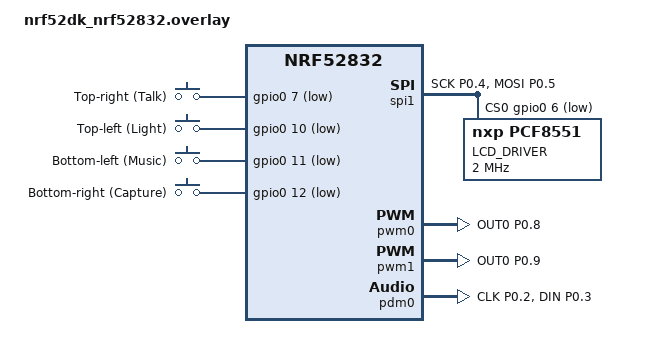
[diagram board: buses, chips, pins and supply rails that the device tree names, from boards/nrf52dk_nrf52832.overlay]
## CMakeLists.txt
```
cmake_minimum_required(VERSION 3.20.0)

find_package(Zephyr REQUIRED HINTS $ENV{ZEPHYR_BASE})
project(casioai_watch)

target_sources(app PRIVATE
    src/main.c
    src/ble_service.c
    src/buttons.c
    src/audio_capture.c
    src/lcd_driver.c
    src/haptics.c
    src/power.c
)

target_include_directories(app PRIVATE src)
```

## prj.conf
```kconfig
# CasioAI watch firmware — nRF Connect SDK / Zephyr project configuration.
# Built and reasoned about without access to the actual SDK/toolchain in
# this environment — see ../README.md "known risk areas" before trusting
# any of these Kconfig symbol names against your installed NCS version.

# --- Bluetooth: peripheral role only, one central (the phone) at a time ---
CONFIG_BT=y
CONFIG_BT_PERIPHERAL=y
CONFIG_BT_DEVICE_NAME="CasioAI Watch"
CONFIG_BT_MAX_CONN=1
CONFIG_BT_MAX_PAIRED=1
CONFIG_BT_GATT_DYNAMIC_DB=n

# Just-Works pairing: keeps casual BLE clients from issuing call/music
# commands without requiring the user to enter a passkey on a device with
# no full keyboard.
CONFIG_BT_SMP=y
CONFIG_BT_BONDABLE=y

# --- Peripherals ---
CONFIG_GPIO=y
CONFIG_SPI=y
CONFIG_PWM=y
CONFIG_NRFX_PDM=y
CONFIG_NRFX_PDM0=y

# --- Power management: idle aggressively between BLE/GPIO events ---
CONFIG_PM=y
CONFIG_PM_DEVICE=y

# --- Misc ---
# power.c uses <time.h> gmtime_r() for the Unix-seconds -> H:M breakdown;
# needs a C library that provides it. Newlib is the safe, widely-supported
# choice — picolibc (Zephyr's newer default) also supports it if your NCS
# version prefers that instead.
CONFIG_NEWLIB_LIBC=y
CONFIG_LOG=y
CONFIG_MAIN_STACK_SIZE=4096
CONFIG_SYSTEM_WORKQUEUE_STACK_SIZE=2048
CONFIG_HEAP_MEM_POOL_SIZE=4096
```

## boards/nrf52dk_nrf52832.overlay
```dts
/*
 * Bring-up overlay for the nRF52-DK, standing in for the custom rev1 PCB
 * (which doesn't exist yet — this is Phase 3). Pin assignments here are
 * provisional and picked for DK convenience, not from any real board; once
 * the PCB exists, replace this whole file with a proper custom board
 * definition (a real `boards/<vendor>/casioai_watch/` directory) that
 * matches actual routing, and update PINMAP.md alongside it.
 *
 * Devicetree/pinctrl syntax is the least-verified part of this firmware —
 * no compiler was available to check it. Cross-check the `NRF_PSEL(...)`
 * macros and node names against an actual NCS checkout's samples
 * (`samples/bluetooth/peripheral_hids` and `samples/drivers/spi_flash` are
 * both good pinctrl references) before trusting this file as-is.
 *
 * Pin map (see ../PINMAP.md for the authoritative, human-readable table):
 *   P0.02  PDM CLK    -> MEMS mic
 *   P0.03  PDM DIN    -> MEMS mic
 *   P0.04  SPI SCK    -> LCD driver IC (PCF8551)
 *   P0.05  SPI MOSI   -> LCD driver IC
 *   P0.06  SPI CS     -> LCD driver IC
 *   P0.07  Button in  -> top-right button (Talk), active low, pull-up
 *   P0.08  PWM0       -> stock piezo buzzer
 *   P0.09  PWM1       -> vibration motor (driven through a transistor, not directly)
 *   P0.10  Button in  -> top-left button (Light), active low, pull-up
 *   P0.11  Button in  -> bottom-left button (Music), active low, pull-up
 *   P0.12  Button in  -> bottom-right button (Capture), active low, pull-up
 */

&pinctrl {
	spi1_default: spi1_default {
		group1 {
			psels = <NRF_PSEL(SPIM_SCK, 0, 4)>,
				<NRF_PSEL(SPIM_MOSI, 0, 5)>;
		};
	};

	spi1_sleep: spi1_sleep {
		group1 {
			psels = <NRF_PSEL(SPIM_SCK, 0, 4)>,
				<NRF_PSEL(SPIM_MOSI, 0, 5)>;
			low-power-enable;
		};
	};

	pwm0_default: pwm0_default {
		group1 {
			psels = <NRF_PSEL(PWM_OUT0, 0, 8)>;
		};
	};

	pwm0_sleep: pwm0_sleep {
		group1 {
			psels = <NRF_PSEL(PWM_OUT0, 0, 8)>;
			low-power-enable;
		};
	};

	pwm1_default: pwm1_default {
		group1 {
			psels = <NRF_PSEL(PWM_OUT0, 0, 9)>;
		};
	};

	pwm1_sleep: pwm1_sleep {
		group1 {
			psels = <NRF_PSEL(PWM_OUT0, 0, 9)>;
			low-power-enable;
		};
	};

	pdm0_default: pdm0_default {
		group1 {
			psels = <NRF_PSEL(PDM_CLK, 0, 2)>,
				<NRF_PSEL(PDM_DIN, 0, 3)>;
		};
	};

	pdm0_sleep: pdm0_sleep {
		group1 {
			psels = <NRF_PSEL(PDM_CLK, 0, 2)>,
				<NRF_PSEL(PDM_DIN, 0, 3)>;
			low-power-enable;
		};
	};
};

&spi1 {
	compatible = "nordic,nrf-spim";
	status = "okay";
	pinctrl-0 = <&spi1_default>;
	pinctrl-1 = <&spi1_sleep>;
	pinctrl-names = "default", "sleep";
	cs-gpios = <&gpio0 6 GPIO_ACTIVE_LOW>;

	lcd_driver: pcf8551@0 {
		compatible = "nxp,pcf8551";
		reg = <0>;
		spi-max-frequency = <2000000>;
		label = "LCD_DRIVER";
	};
};

&pwm0 {
	status = "okay";
	pinctrl-0 = <&pwm0_default>;
	pinctrl-1 = <&pwm0_sleep>;
	pinctrl-names = "default", "sleep";
};

&pwm1 {
	status = "okay";
	pinctrl-0 = <&pwm1_default>;
	pinctrl-1 = <&pwm1_sleep>;
	pinctrl-names = "default", "sleep";
};

&pdm0 {
	status = "okay";
	pinctrl-0 = <&pdm0_default>;
	pinctrl-1 = <&pdm0_sleep>;
	pinctrl-names = "default", "sleep";
};

/ {
	buttons {
		compatible = "gpio-keys";
		talk_button: button_0 {
			gpios = <&gpio0 7 (GPIO_PULL_UP | GPIO_ACTIVE_LOW)>;
			label = "Top-right (Talk)";
		};
		light_button: button_1 {
			gpios = <&gpio0 10 (GPIO_PULL_UP | GPIO_ACTIVE_LOW)>;
			label = "Top-left (Light)";
		};
		music_button: button_2 {
			gpios = <&gpio0 11 (GPIO_PULL_UP | GPIO_ACTIVE_LOW)>;
			label = "Bottom-left (Music)";
		};
		capture_button: button_3 {
			gpios = <&gpio0 12 (GPIO_PULL_UP | GPIO_ACTIVE_LOW)>;
			label = "Bottom-right (Capture)";
		};
	};

	aliases {
		talk-button = &talk_button;
		light-button = &light_button;
		music-button = &music_button;
		capture-button = &capture_button;
		lcd-driver = &lcd_driver;
	};
};
```

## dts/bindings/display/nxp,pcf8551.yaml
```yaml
description: |
  NXP PCF8551 4-backplane x 36-segment LCD driver, SPI-connected. No
  upstream Zephyr driver exists for this part; lcd_driver.c talks to it
  directly via spi_transceive_dt rather than going through a registered
  Zephyr display device, so this binding only exists to give the devicetree
  node a valid compatible for the SPI bus to reference.

compatible: "nxp,pcf8551"

include: spi-device.yaml
```

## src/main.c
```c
#include <zephyr/kernel.h>
#include <zephyr/logging/log.h>

#include "audio_capture.h"
#include "ble_service.h"
#include "buttons.h"
#include "haptics.h"
#include "lcd_driver.h"
#include "power.h"
#include "watch_protocol.h"

LOG_MODULE_REGISTER(main, LOG_LEVEL_INF);

static void on_call_state(enum watch_call_state state, const char *caller_name)
{
	ARG_UNUSED(caller_name);

	buttons_set_call_state(state);

	if (state == WATCH_CALL_STATE_INCOMING) {
		haptics_alarm(true, true);
		lcd_driver_set_alarm_icon(true);
	} else {
		haptics_stop();
		lcd_driver_set_alarm_icon(false);
	}
	lcd_driver_flush();
}

static void on_time_sync(const struct watch_time_sync_payload *sync)
{
	power_apply_time_sync(sync);
}

static void on_temperature(const struct watch_temperature_payload *temp)
{
	power_apply_temperature(temp);
}

int main(void)
{
	LOG_INF("CasioAI watch firmware starting");

	struct ble_service_callbacks callbacks = {
		.on_call_state = on_call_state,
		.on_time_sync = on_time_sync,
		.on_temperature = on_temperature,
		.on_session_mode = NULL, /* ble_service applies it internally already */
	};

	int err;

	err = ble_service_init(&callbacks);
	if (err) {
		LOG_ERR("ble_service_init failed (%d)", err);
		return err;
	}

	err = lcd_driver_init();
	if (err) {
		LOG_ERR("lcd_driver_init failed (%d)", err);
		/* Keep going — BLE/buttons still work even if the display doesn't. */
	}

	err = haptics_init();
	if (err) {
		LOG_ERR("haptics_init failed (%d)", err);
	}

	err = buttons_init();
	if (err) {
		LOG_ERR("buttons_init failed (%d)", err);
	}

	err = power_init();
	if (err) {
		LOG_ERR("power_init failed (%d)", err);
	}

	err = ble_service_start_advertising();
	if (err) {
		LOG_ERR("Advertising failed to start (%d)", err);
		return err;
	}

	LOG_INF("Advertising as \"%s\"", CONFIG_BT_DEVICE_NAME);
	return 0;
}
```

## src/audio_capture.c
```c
/*
 * PDM mic capture via nrfx directly (not Zephyr's higher-level audio/dmic
 * subsystem — that's oriented around larger, more general audio pipelines
 * than "stream mono 16kHz PCM to BLE," and going straight to nrfx keeps
 * this close to what a battery-constrained wearable actually needs:
 * EasyDMA-driven capture with the CPU only waking up once per buffer).
 *
 * nrfx_pdm's event-handler struct shape has changed across nrfx versions;
 * this targets the request/release double-buffer pattern
 * (`buffer_requested` / `buffer_released` fields on nrfx_pdm_evt_t) used by
 * nrfx v2/v3. Check nrfx_pdm.h in your installed NCS if this doesn't match —
 * flagged in firmware/README.md as one of the higher-risk files.
 */
#include <nrfx_pdm.h>
#include <zephyr/kernel.h>
#include <zephyr/logging/log.h>
#include <zephyr/sys/util.h>

#include "audio_capture.h"
#include "ble_service.h"
#include "watch_protocol.h"

LOG_MODULE_REGISTER(audio_capture, LOG_LEVEL_INF);

/* 256 samples @ 16kHz = 16ms per buffer; double-buffered so nrfx always has
 * a free buffer to fill while the other is being forwarded over BLE.
 */
#define PDM_BUFFER_SAMPLES 256
/* PCM bytes per BLE notification payload, sized for the 20-byte ATT MTU
 * floor minus the 3-byte watch_audio_frame_header (see ble_service.c's
 * note on negotiating a larger MTU instead of hardcoding this).
 */
#define AUDIO_BLE_CHUNK_BYTES 17

static int16_t pdm_buf[2][PDM_BUFFER_SAMPLES];
static uint8_t next_buf_idx;
static volatile bool capture_active;

static struct k_work forward_work;
static const int16_t *pending_buffer;
static size_t pending_samples;

static void forward_work_handler(struct k_work *work)
{
	ARG_UNUSED(work);

	const uint8_t *bytes = (const uint8_t *)pending_buffer;
	size_t total_bytes = pending_samples * sizeof(int16_t);
	size_t offset = 0;

	while (offset < total_bytes) {
		size_t chunk = MIN((size_t)AUDIO_BLE_CHUNK_BYTES, total_bytes - offset);
		ble_service_notify_audio_frame(bytes + offset, chunk);
		offset += chunk;
	}
}

static void pdm_event_handler(nrfx_pdm_evt_t const *evt)
{
	if (evt->error != NRFX_PDM_NO_ERROR) {
		LOG_WRN("PDM error %d", evt->error);
	}

	if (evt->buffer_requested && capture_active) {
		nrfx_pdm_buffer_set(pdm_buf[next_buf_idx], PDM_BUFFER_SAMPLES);
		next_buf_idx ^= 1;
	}

	if (evt->buffer_released != NULL) {
		/* Runs in nrfx's ISR context — hand off to the system
		 * workqueue rather than calling into the BLE stack here.
		 * Double-buffering gives a full buffer period (~16ms) of
		 * margin before this memory is reused, which is comfortably
		 * more than bt_gatt_notify() needs to drain it.
		 */
		pending_buffer = evt->buffer_released;
		pending_samples = evt->buffer_released_size;
		k_work_submit(&forward_work);
	}
}

int audio_capture_start(void)
{
	if (capture_active) {
		return 0;
	}

	static bool pdm_initialized;
	if (!pdm_initialized) {
		k_work_init(&forward_work, forward_work_handler);

		nrfx_pdm_config_t config = NRFX_PDM_DEFAULT_CONFIG(
			NRF_GPIO_PIN_MAP(0, 2) /* PDM CLK, see PINMAP.md */,
			NRF_GPIO_PIN_MAP(0, 3) /* PDM DIN */);
		config.mode = NRFX_PDM_MODE_MONO;
		config.clock_freq = NRF_PDM_FREQ_1032K; /* -> ~16kHz output rate */

		nrfx_err_t err = nrfx_pdm_init(&config, pdm_event_handler);
		if (err != NRFX_SUCCESS) {
			LOG_ERR("nrfx_pdm_init failed (0x%x)", err);
			return -EIO;
		}
		pdm_initialized = true;
	}

	next_buf_idx = 0;
	capture_active = true;

	nrfx_err_t err = nrfx_pdm_start();
	if (err != NRFX_SUCCESS) {
		LOG_ERR("nrfx_pdm_start failed (0x%x)", err);
		capture_active = false;
		return -EIO;
	}

	return 0;
}

int audio_capture_stop(void)
{
	if (!capture_active) {
		return 0;
	}
	capture_active = false;
	nrfx_pdm_stop();
	return 0;
}
```

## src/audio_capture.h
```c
#ifndef AUDIO_CAPTURE_H_
#define AUDIO_CAPTURE_H_

/* Starts the PDM mic and begins forwarding captured audio as BLE
 * notifications (see ble_service_notify_audio_frame). Call on
 * talkStart/holdStart; stop on talkEnd/holdEnd. Safe to call repeatedly —
 * a start while already running, or a stop while already stopped, is a
 * no-op.
 */
int audio_capture_start(void);
int audio_capture_stop(void);

#endif /* AUDIO_CAPTURE_H_ */
```

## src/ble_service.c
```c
/*
 * GATT service implementing the WatchProtocol contract (watch_protocol.h).
 *
 * The attribute-index enum below must stay in the same order as the
 * BT_GATT_SERVICE_DEFINE table — that's how Zephyr's bt_gatt_notify() finds
 * a characteristic's value attribute (`&casioai_svc.attrs[N]`), and nothing
 * checks it for you at the macro level. The BUILD_ASSERT at the bottom of
 * this file is a real (compile-time) safety net for that, not decoration —
 * if the two drift apart it'll fail to build rather than notify the wrong
 * characteristic at runtime.
 */
#include <string.h>
#include <zephyr/bluetooth/bluetooth.h>
#include <zephyr/bluetooth/conn.h>
#include <zephyr/bluetooth/gatt.h>
#include <zephyr/bluetooth/hci.h>
#include <zephyr/kernel.h>
#include <zephyr/logging/log.h>

#include "ble_service.h"

LOG_MODULE_REGISTER(ble_service, LOG_LEVEL_INF);

static struct ble_service_callbacks cbs;
static struct bt_conn *current_conn;
static uint16_t audio_sequence;

static bool call_command_notify_enabled;
static bool music_command_notify_enabled;
static bool button_event_indicate_enabled;
static bool audio_stream_notify_enabled;
static bool status_notify_enabled;

static struct watch_status_payload latest_status;

/* Idle: loose interval + high slave latency for lowest average current.
 * 400-800 * 1.25ms = 500-1000ms interval, latency 4, 4000ms supervision
 * timeout. Starting point only — tune against real current-draw
 * measurements toward the 3-6 month CR2016 target.
 */
static const struct bt_le_conn_param conn_param_idle = BT_LE_CONN_PARAM_INIT(400, 800, 4, 400);

/* Active: tight interval for low-latency audio/button response.
 * 12-24 * 1.25ms = 15-30ms interval, latency 0, 4000ms timeout.
 */
static const struct bt_le_conn_param conn_param_active = BT_LE_CONN_PARAM_INIT(12, 24, 0, 400);

enum casioai_attr_index {
	ATTR_IDX_SVC = 0,
	ATTR_IDX_CALL_STATE_CHRC,
	ATTR_IDX_CALL_STATE_VALUE,
	ATTR_IDX_CALL_COMMAND_CHRC,
	ATTR_IDX_CALL_COMMAND_VALUE,
	ATTR_IDX_CALL_COMMAND_CCC,
	ATTR_IDX_MUSIC_COMMAND_CHRC,
	ATTR_IDX_MUSIC_COMMAND_VALUE,
	ATTR_IDX_MUSIC_COMMAND_CCC,
	ATTR_IDX_TIME_SYNC_CHRC,
	ATTR_IDX_TIME_SYNC_VALUE,
	ATTR_IDX_TEMPERATURE_CHRC,
	ATTR_IDX_TEMPERATURE_VALUE,
	ATTR_IDX_BUTTON_EVENT_CHRC,
	ATTR_IDX_BUTTON_EVENT_VALUE,
	ATTR_IDX_BUTTON_EVENT_CCC,
	ATTR_IDX_AUDIO_STREAM_CHRC,
	ATTR_IDX_AUDIO_STREAM_VALUE,
	ATTR_IDX_AUDIO_STREAM_CCC,
	ATTR_IDX_STATUS_CHRC,
	ATTR_IDX_STATUS_VALUE,
	ATTR_IDX_STATUS_CCC,
	ATTR_IDX_SESSION_MODE_CHRC,
	ATTR_IDX_SESSION_MODE_VALUE,
	ATTR_IDX_COUNT,
};

/* ---- CCC change handlers ---- */

static void call_command_ccc_changed(const struct bt_gatt_attr *attr, uint16_t value)
{
	call_command_notify_enabled = (value == BT_GATT_CCC_NOTIFY);
}

static void music_command_ccc_changed(const struct bt_gatt_attr *attr, uint16_t value)
{
	music_command_notify_enabled = (value == BT_GATT_CCC_NOTIFY);
}

static void button_event_ccc_changed(const struct bt_gatt_attr *attr, uint16_t value)
{
	button_event_indicate_enabled = (value == BT_GATT_CCC_INDICATE);
}

static void audio_stream_ccc_changed(const struct bt_gatt_attr *attr, uint16_t value)
{
	audio_stream_notify_enabled = (value == BT_GATT_CCC_NOTIFY);
}

static void status_ccc_changed(const struct bt_gatt_attr *attr, uint16_t value)
{
	status_notify_enabled = (value == BT_GATT_CCC_NOTIFY);
}

/* ---- Write handlers ---- */

static ssize_t write_call_state(struct bt_conn *conn, const struct bt_gatt_attr *attr,
				 const void *buf, uint16_t len, uint16_t offset, uint8_t flags)
{
	ARG_UNUSED(conn);
	ARG_UNUSED(attr);
	ARG_UNUSED(offset);
	ARG_UNUSED(flags);

	/* Payload: 1 state byte + up to WATCH_CALL_EVENT_NAME_MAX_LEN bytes of
	 * UTF-8 caller name (see WatchProtocol.CallEvent.encoded on the phone
	 * side) — variable length, so only the minimum 1-byte state is
	 * required.
	 */
	if (len < 1 || len > 1 + WATCH_CALL_EVENT_NAME_MAX_LEN) {
		return BT_GATT_ERR(BT_ATT_ERR_INVALID_ATTRIBUTE_LEN);
	}

	const uint8_t *bytes = buf;
	enum watch_call_state state = (enum watch_call_state)bytes[0];

	char name[WATCH_CALL_EVENT_NAME_MAX_LEN + 1] = {0};
	size_t name_len = len - 1;
	if (name_len) {
		memcpy(name, &bytes[1], name_len);
	}
	name[name_len] = '\0';

	if (cbs.on_call_state) {
		cbs.on_call_state(state, name);
	}
	return len;
}

static ssize_t write_time_sync(struct bt_conn *conn, const struct bt_gatt_attr *attr,
				const void *buf, uint16_t len, uint16_t offset, uint8_t flags)
{
	ARG_UNUSED(conn);
	ARG_UNUSED(attr);
	ARG_UNUSED(offset);
	ARG_UNUSED(flags);

	if (len != sizeof(struct watch_time_sync_payload)) {
		return BT_GATT_ERR(BT_ATT_ERR_INVALID_ATTRIBUTE_LEN);
	}

	if (cbs.on_time_sync) {
		cbs.on_time_sync((const struct watch_time_sync_payload *)buf);
	}
	return len;
}

static ssize_t write_temperature(struct bt_conn *conn, const struct bt_gatt_attr *attr,
				  const void *buf, uint16_t len, uint16_t offset, uint8_t flags)
{
	ARG_UNUSED(conn);
	ARG_UNUSED(attr);
	ARG_UNUSED(offset);
	ARG_UNUSED(flags);

	if (len != sizeof(struct watch_temperature_payload)) {
		return BT_GATT_ERR(BT_ATT_ERR_INVALID_ATTRIBUTE_LEN);
	}

	if (cbs.on_temperature) {
		cbs.on_temperature((const struct watch_temperature_payload *)buf);
	}
	return len;
}

static ssize_t write_session_mode(struct bt_conn *conn, const struct bt_gatt_attr *attr,
				   const void *buf, uint16_t len, uint16_t offset, uint8_t flags)
{
	ARG_UNUSED(attr);
	ARG_UNUSED(offset);
	ARG_UNUSED(flags);

	if (len != 1) {
		return BT_GATT_ERR(BT_ATT_ERR_INVALID_ATTRIBUTE_LEN);
	}

	enum watch_session_mode mode = (enum watch_session_mode)((const uint8_t *)buf)[0];
	ble_service_apply_session_mode(mode);
	if (cbs.on_session_mode) {
		cbs.on_session_mode(mode);
	}
	return len;
}

static ssize_t read_status(struct bt_conn *conn, const struct bt_gatt_attr *attr, void *buf,
			    uint16_t len, uint16_t offset)
{
	return bt_gatt_attr_read(conn, attr, buf, len, offset, &latest_status,
				  sizeof(latest_status));
}

/* watch_call_command / watch_music_command have no phone->watch write path
 * in this design (they're watch->phone notifications only), so no write
 * handler is registered for those two.
 */

BT_GATT_SERVICE_DEFINE(
	casioai_svc, BT_GATT_PRIMARY_SERVICE(BT_UUID_CASIOAI_SERVICE),

	BT_GATT_CHARACTERISTIC(BT_UUID_CASIOAI_CALL_STATE, BT_GATT_CHRC_WRITE,
				BT_GATT_PERM_WRITE, NULL, write_call_state, NULL),

	BT_GATT_CHARACTERISTIC(BT_UUID_CASIOAI_CALL_COMMAND, BT_GATT_CHRC_NOTIFY,
				BT_GATT_PERM_NONE, NULL, NULL, NULL),
	BT_GATT_CCC(call_command_ccc_changed, BT_GATT_PERM_READ | BT_GATT_PERM_WRITE),

	BT_GATT_CHARACTERISTIC(BT_UUID_CASIOAI_MUSIC_COMMAND, BT_GATT_CHRC_NOTIFY,
				BT_GATT_PERM_NONE, NULL, NULL, NULL),
	BT_GATT_CCC(music_command_ccc_changed, BT_GATT_PERM_READ | BT_GATT_PERM_WRITE),

	BT_GATT_CHARACTERISTIC(BT_UUID_CASIOAI_TIME_SYNC, BT_GATT_CHRC_WRITE_WITHOUT_RESP,
				BT_GATT_PERM_WRITE, NULL, write_time_sync, NULL),

	BT_GATT_CHARACTERISTIC(BT_UUID_CASIOAI_TEMPERATURE, BT_GATT_CHRC_WRITE_WITHOUT_RESP,
				BT_GATT_PERM_WRITE, NULL, write_temperature, NULL),

	BT_GATT_CHARACTERISTIC(BT_UUID_CASIOAI_BUTTON_EVENT, BT_GATT_CHRC_INDICATE,
				BT_GATT_PERM_NONE, NULL, NULL, NULL),
	BT_GATT_CCC(button_event_ccc_changed, BT_GATT_PERM_READ | BT_GATT_PERM_WRITE),

	BT_GATT_CHARACTERISTIC(BT_UUID_CASIOAI_AUDIO_STREAM, BT_GATT_CHRC_NOTIFY,
				BT_GATT_PERM_NONE, NULL, NULL, NULL),
	BT_GATT_CCC(audio_stream_ccc_changed, BT_GATT_PERM_READ | BT_GATT_PERM_WRITE),

	BT_GATT_CHARACTERISTIC(BT_UUID_CASIOAI_STATUS, BT_GATT_CHRC_READ | BT_GATT_CHRC_NOTIFY,
				BT_GATT_PERM_READ, read_status, NULL, NULL),
	BT_GATT_CCC(status_ccc_changed, BT_GATT_PERM_READ | BT_GATT_PERM_WRITE),

	BT_GATT_CHARACTERISTIC(BT_UUID_CASIOAI_SESSION_MODE, BT_GATT_CHRC_WRITE_WITHOUT_RESP,
				BT_GATT_PERM_WRITE, NULL, write_session_mode, NULL), );

BUILD_ASSERT(ATTR_IDX_COUNT == ARRAY_SIZE(casioai_svc.attrs),
	     "casioai_attr_index enum is out of sync with BT_GATT_SERVICE_DEFINE - "
	     "notify calls would hit the wrong characteristic");

/* ---- Advertising ---- */

static const struct bt_data ad[] = {
	BT_DATA_BYTES(BT_DATA_FLAGS, (BT_LE_AD_GENERAL | BT_LE_AD_NO_BREDR)),
	BT_DATA_BYTES(BT_DATA_UUID128_ALL, BT_UUID_CASIOAI_SERVICE_VAL),
};

static const struct bt_data sd[] = {
	BT_DATA(BT_DATA_NAME_COMPLETE, CONFIG_BT_DEVICE_NAME, sizeof(CONFIG_BT_DEVICE_NAME) - 1),
};

static void on_connected(struct bt_conn *conn, uint8_t err)
{
	if (err) {
		LOG_WRN("Connection failed (err %u)", err);
		return;
	}
	LOG_INF("Connected");
	current_conn = bt_conn_ref(conn);
	/* Start loose; ble_service_apply_session_mode() tightens on demand. */
	ble_service_apply_session_mode(WATCH_SESSION_IDLE);
}

static void on_disconnected(struct bt_conn *conn, uint8_t reason)
{
	LOG_INF("Disconnected (reason %u)", reason);
	if (current_conn) {
		bt_conn_unref(current_conn);
		current_conn = NULL;
	}
	ble_service_start_advertising();
}

static struct bt_conn_cb conn_callbacks = {
	.connected = on_connected,
	.disconnected = on_disconnected,
};

int ble_service_init(const struct ble_service_callbacks *callbacks)
{
	if (callbacks) {
		cbs = *callbacks;
	}

	int err = bt_enable(NULL);
	if (err) {
		LOG_ERR("bt_enable failed (%d)", err);
		return err;
	}

	bt_conn_cb_register(&conn_callbacks);
	return 0;
}

int ble_service_start_advertising(void)
{
	return bt_le_adv_start(BT_LE_ADV_CONN_NAME, ad, ARRAY_SIZE(ad), sd, ARRAY_SIZE(sd));
}

bool ble_service_is_connected(void)
{
	return current_conn != NULL;
}

int ble_service_apply_session_mode(enum watch_session_mode mode)
{
	if (!current_conn) {
		return -ENOTCONN;
	}
	const struct bt_le_conn_param *param =
		(mode == WATCH_SESSION_ACTIVE) ? &conn_param_active : &conn_param_idle;
	return bt_conn_le_param_update(current_conn, param);
}

int ble_service_notify_call_state(enum watch_call_state state, const char *caller_name)
{
	if (!current_conn) {
		return -ENOTCONN;
	}

	uint8_t payload[1 + WATCH_CALL_EVENT_NAME_MAX_LEN];
	size_t name_len = 0;

	payload[0] = (uint8_t)state;
	if (caller_name) {
		name_len = strnlen(caller_name, WATCH_CALL_EVENT_NAME_MAX_LEN);
		memcpy(&payload[1], caller_name, name_len);
	}

	return bt_gatt_notify(current_conn, &casioai_svc.attrs[ATTR_IDX_CALL_STATE_VALUE], payload,
			       1 + name_len);
}

int ble_service_notify_call_command(enum watch_call_command cmd)
{
	if (!current_conn || !call_command_notify_enabled) {
		return -ENOTCONN;
	}
	uint8_t value = (uint8_t)cmd;
	return bt_gatt_notify(current_conn, &casioai_svc.attrs[ATTR_IDX_CALL_COMMAND_VALUE], &value,
			       sizeof(value));
}

int ble_service_notify_music_command(enum watch_music_command cmd)
{
	if (!current_conn || !music_command_notify_enabled) {
		return -ENOTCONN;
	}
	uint8_t value = (uint8_t)cmd;
	return bt_gatt_notify(current_conn, &casioai_svc.attrs[ATTR_IDX_MUSIC_COMMAND_VALUE],
			       &value, sizeof(value));
}

int ble_service_notify_button_event(enum watch_button_event event)
{
	if (!current_conn || !button_event_indicate_enabled) {
		return -ENOTCONN;
	}
	uint8_t value = (uint8_t)event;
	return bt_gatt_notify(current_conn, &casioai_svc.attrs[ATTR_IDX_BUTTON_EVENT_VALUE],
			       &value, sizeof(value));
}

int ble_service_notify_audio_frame(const uint8_t *pcm, size_t pcm_len)
{
	if (!current_conn || !audio_stream_notify_enabled) {
		return -ENOTCONN;
	}

	/* ATT_MTU is negotiated per-connection; 20 bytes is the guaranteed
	 * minimum payload without an MTU exchange. Real firmware should
	 * request a larger MTU during connection setup and size this buffer
	 * from bt_gatt_get_mtu() instead of hardcoding the floor.
	 */
	uint8_t frame[20];
	struct watch_audio_frame_header header = {
		.format = WATCH_AUDIO_FORMAT_PCM16_MONO_16K,
		.sequence = audio_sequence++,
	};
	size_t header_len = sizeof(header);
	size_t chunk = MIN(pcm_len, sizeof(frame) - header_len);

	memcpy(frame, &header, header_len);
	memcpy(frame + header_len, pcm, chunk);

	return bt_gatt_notify(current_conn, &casioai_svc.attrs[ATTR_IDX_AUDIO_STREAM_VALUE], frame,
			       header_len + chunk);
}

int ble_service_notify_status(const struct watch_status_payload *status)
{
	latest_status = *status;

	if (!current_conn || !status_notify_enabled) {
		return -ENOTCONN;
	}
	return bt_gatt_notify(current_conn, &casioai_svc.attrs[ATTR_IDX_STATUS_VALUE], status,
			       sizeof(*status));
}
```

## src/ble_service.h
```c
#ifndef BLE_SERVICE_H_
#define BLE_SERVICE_H_

#include <stddef.h>
#include <stdbool.h>
#include "watch_protocol.h"

/* caller_name is NUL-terminated, truncated to WATCH_CALL_EVENT_NAME_MAX_LEN;
 * the pointer is only valid for the duration of the callback.
 *
 * call_command and music_command have no callback here: per WatchProtocol,
 * both are watch -> phone notify-only characteristics (see
 * ble_service_notify_call_command / ble_service_notify_music_command below),
 * so there's nothing for the phone to write and nothing to callback on.
 */
typedef void (*ble_call_state_cb_t)(enum watch_call_state state, const char *caller_name);
typedef void (*ble_time_sync_cb_t)(const struct watch_time_sync_payload *sync);
typedef void (*ble_temperature_cb_t)(const struct watch_temperature_payload *temp);
typedef void (*ble_session_mode_cb_t)(enum watch_session_mode mode);

struct ble_service_callbacks {
	ble_call_state_cb_t on_call_state;
	ble_time_sync_cb_t on_time_sync;
	ble_temperature_cb_t on_temperature;
	ble_session_mode_cb_t on_session_mode;
};

/* Registers GATT write handlers; call once at boot before advertising. */
int ble_service_init(const struct ble_service_callbacks *callbacks);

int ble_service_start_advertising(void);
bool ble_service_is_connected(void);

/* Applies a connection parameter update matching the requested session
 * mode. This is the firmware side of the battery-life lever described in
 * GOALS.md — call it whenever the phone writes the session_mode
 * characteristic (see on_session_mode) or a local event (incoming call,
 * button press) requires tightening/loosening the link.
 */
int ble_service_apply_session_mode(enum watch_session_mode mode);

int ble_service_notify_call_state(enum watch_call_state state, const char *caller_name);
int ble_service_notify_call_command(enum watch_call_command cmd);
int ble_service_notify_music_command(enum watch_music_command cmd);
int ble_service_notify_button_event(enum watch_button_event event);

/* pcm must be raw PCM16 mono 16kHz samples; this prepends the
 * watch_audio_frame_header and fragments as needed for the negotiated MTU.
 */
int ble_service_notify_audio_frame(const uint8_t *pcm, size_t pcm_len);

int ble_service_notify_status(const struct watch_status_payload *status);

#endif /* BLE_SERVICE_H_ */
```

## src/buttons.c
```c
/*
 * Four physical buttons, remapped from their stock Casio functions — see
 * PINMAP.md#button-remapping for the reasoning. GPIO interrupts only
 * timestamp/queue work; actual handling (BLE notify calls, session mode
 * changes) happens in workqueue context, never in the ISR itself.
 */
#include <zephyr/device.h>
#include <zephyr/devicetree.h>
#include <zephyr/drivers/gpio.h>
#include <zephyr/kernel.h>
#include <zephyr/logging/log.h>

#include "audio_capture.h"
#include "ble_service.h"
#include "buttons.h"

LOG_MODULE_REGISTER(buttons, LOG_LEVEL_INF);

#define MUSIC_LONG_PRESS_MS   600
#define MUSIC_DOUBLE_PRESS_MS 400

static const struct gpio_dt_spec talk_btn = GPIO_DT_SPEC_GET(DT_ALIAS(talk_button), gpios);
static const struct gpio_dt_spec light_btn = GPIO_DT_SPEC_GET(DT_ALIAS(light_button), gpios);
static const struct gpio_dt_spec music_btn = GPIO_DT_SPEC_GET(DT_ALIAS(music_button), gpios);
static const struct gpio_dt_spec capture_btn = GPIO_DT_SPEC_GET(DT_ALIAS(capture_button), gpios);

static struct gpio_callback talk_cb_data;
static struct gpio_callback light_cb_data;
static struct gpio_callback music_cb_data;
static struct gpio_callback capture_cb_data;

static struct k_work_delayable talk_work;
static struct k_work_delayable capture_work;
static struct k_work_delayable music_long_press_work;
static struct k_work_delayable music_double_press_work;

static enum watch_call_state call_state = WATCH_CALL_STATE_IDLE;

static bool music_long_press_fired;
static int64_t music_last_release_ms;

void buttons_set_call_state(enum watch_call_state state)
{
	call_state = state;
}

/* ---- Talk button (top-right) ---- */

static void talk_work_handler(struct k_work *work)
{
	bool pressed = gpio_pin_get_dt(&talk_btn) > 0;

	if (call_state == WATCH_CALL_STATE_INCOMING) {
		if (pressed) {
			ble_service_notify_call_command(WATCH_CALL_CMD_ANSWER);
		}
		return;
	}

	if (pressed) {
		ble_service_apply_session_mode(WATCH_SESSION_ACTIVE);
		ble_service_notify_button_event(WATCH_BUTTON_TALK_START);
		audio_capture_start();
	} else {
		audio_capture_stop();
		ble_service_notify_button_event(WATCH_BUTTON_TALK_END);
		ble_service_apply_session_mode(WATCH_SESSION_IDLE);
	}
}

static void talk_isr(const struct device *dev, struct gpio_callback *cb, uint32_t pins)
{
	ARG_UNUSED(dev);
	ARG_UNUSED(cb);
	ARG_UNUSED(pins);
	k_work_schedule(&talk_work, K_MSEC(20)); /* debounce */
}

/* ---- Capture button (bottom-right) ---- */

static void capture_work_handler(struct k_work *work)
{
	bool pressed = gpio_pin_get_dt(&capture_btn) > 0;

	if (call_state == WATCH_CALL_STATE_INCOMING) {
		if (pressed) {
			ble_service_notify_call_command(WATCH_CALL_CMD_REJECT);
		}
		return;
	}

	if (pressed) {
		ble_service_apply_session_mode(WATCH_SESSION_ACTIVE);
		ble_service_notify_button_event(WATCH_BUTTON_HOLD_START);
		audio_capture_start();
	} else {
		audio_capture_stop();
		ble_service_notify_button_event(WATCH_BUTTON_HOLD_END);
		ble_service_apply_session_mode(WATCH_SESSION_IDLE);
	}
}

static void capture_isr(const struct device *dev, struct gpio_callback *cb, uint32_t pins)
{
	ARG_UNUSED(dev);
	ARG_UNUSED(cb);
	ARG_UNUSED(pins);
	k_work_schedule(&capture_work, K_MSEC(20));
}

/* ---- Light button (top-left) ---- */

static void light_isr(const struct device *dev, struct gpio_callback *cb, uint32_t pins)
{
	ARG_UNUSED(dev);
	ARG_UNUSED(cb);
	ARG_UNUSED(pins);
	/* Stock A158WE has no backlight illuminator, so there's nothing to
	 * drive electrically in rev1 — this button is wired through for case
	 * compatibility. If a rev2 PCB adds an LED, drive it from here.
	 */
}

/* ---- Music button (bottom-left): short=play/pause, double=next, long=previous ---- */

static void music_long_press_handler(struct k_work *work)
{
	if (gpio_pin_get_dt(&music_btn) > 0) { /* still held */
		music_long_press_fired = true;
		ble_service_notify_music_command(WATCH_MUSIC_CMD_PREVIOUS);
	}
}

static void music_double_press_handler(struct k_work *work)
{
	/* No second press arrived within the window: it was a single tap. */
	ble_service_notify_music_command(WATCH_MUSIC_CMD_PLAY_PAUSE);
}

static void music_isr(const struct device *dev, struct gpio_callback *cb, uint32_t pins)
{
	ARG_UNUSED(dev);
	ARG_UNUSED(cb);
	ARG_UNUSED(pins);

	bool pressed = gpio_pin_get_dt(&music_btn) > 0;

	if (pressed) {
		music_long_press_fired = false;
		k_work_schedule(&music_long_press_work, K_MSEC(MUSIC_LONG_PRESS_MS));
		return;
	}

	/* Released */
	k_work_cancel_delayable(&music_long_press_work);
	if (music_long_press_fired) {
		return; /* PREVIOUS already fired on the long-press timer */
	}

	int64_t now = k_uptime_get();
	if (music_last_release_ms != 0 && (now - music_last_release_ms) <= MUSIC_DOUBLE_PRESS_MS) {
		k_work_cancel_delayable(&music_double_press_work);
		music_last_release_ms = 0;
		ble_service_notify_music_command(WATCH_MUSIC_CMD_NEXT);
	} else {
		music_last_release_ms = now;
		k_work_schedule(&music_double_press_work, K_MSEC(MUSIC_DOUBLE_PRESS_MS));
	}
}

/* ---- Setup ---- */

static int setup_button(const struct gpio_dt_spec *btn, struct gpio_callback *cb_data,
			 gpio_callback_handler_t handler)
{
	if (!gpio_is_ready_dt(btn)) {
		LOG_ERR("Button GPIO not ready");
		return -ENODEV;
	}

	int err = gpio_pin_configure_dt(btn, GPIO_INPUT);
	if (err) {
		return err;
	}

	err = gpio_pin_interrupt_configure_dt(btn, GPIO_INT_EDGE_BOTH);
	if (err) {
		return err;
	}

	gpio_init_callback(cb_data, handler, BIT(btn->pin));
	return gpio_add_callback(btn->port, cb_data);
}

int buttons_init(void)
{
	k_work_init_delayable(&talk_work, talk_work_handler);
	k_work_init_delayable(&capture_work, capture_work_handler);
	k_work_init_delayable(&music_long_press_work, music_long_press_handler);
	k_work_init_delayable(&music_double_press_work, music_double_press_handler);

	int err;
	err = setup_button(&talk_btn, &talk_cb_data, talk_isr);
	if (err) {
		return err;
	}
	err = setup_button(&light_btn, &light_cb_data, light_isr);
	if (err) {
		return err;
	}
	err = setup_button(&music_btn, &music_cb_data, music_isr);
	if (err) {
		return err;
	}
	err = setup_button(&capture_btn, &capture_cb_data, capture_isr);
	if (err) {
		return err;
	}

	return 0;
}
```

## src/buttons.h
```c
#ifndef BUTTONS_H_
#define BUTTONS_H_

#include "watch_protocol.h"

/* Sets up GPIO interrupts for all four physical buttons. See
 * ../PINMAP.md#button-remapping for the rationale behind which physical
 * button does what — this is a rev1 firmware UX decision, not something
 * from the source spec, and easy to revisit once the watch is in hand.
 */
int buttons_init(void);

/* Called whenever the phone writes a new call state, so the capture/talk
 * buttons can temporarily switch to answer/reject while a call rings.
 */
void buttons_set_call_state(enum watch_call_state state);

#endif /* BUTTONS_H_ */
```

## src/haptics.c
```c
/*
 * Stock piezo buzzer (PWM tone) and vibration motor (PWM through a
 * transistor driver, not direct GPIO — see PINMAP.md) control, including
 * the alarm's vibrate/beep pattern.
 */
#include <zephyr/devicetree.h>
#include <zephyr/drivers/pwm.h>
#include <zephyr/kernel.h>
#include <zephyr/logging/log.h>

#include "haptics.h"

LOG_MODULE_REGISTER(haptics, LOG_LEVEL_INF);

#define ALARM_PULSE_ON_MS  500
#define ALARM_PULSE_OFF_MS 500
#define ALARM_TIMEOUT_MS   (60 * 1000) /* auto-stop if nobody acknowledges */

static const struct pwm_dt_spec buzzer_pwm = PWM_DT_SPEC_GET(DT_NODELABEL(pwm0));
static const struct pwm_dt_spec vibe_pwm = PWM_DT_SPEC_GET(DT_NODELABEL(pwm1));

static struct k_work_delayable buzzer_off_work;
static struct k_work_delayable vibe_off_work;
static struct k_work_delayable alarm_pulse_work;

static bool alarm_active;
static bool alarm_vibrate;
static bool alarm_beep;
static bool alarm_pulse_on;
static int64_t alarm_started_ms;

static int buzzer_set(uint32_t freq_hz)
{
	if (freq_hz == 0) {
		return pwm_set_pulse_dt(&buzzer_pwm, 0);
	}
	uint32_t period_ns = NSEC_PER_SEC / freq_hz;
	return pwm_set_dt(&buzzer_pwm, period_ns, period_ns / 2 /* 50% duty */);
}

static int vibe_set(bool on)
{
	/* Full-power on/off; PWM channel is available for intensity ramping
	 * later without a hardware change if that turns out to matter.
	 */
	return pwm_set_pulse_dt(&vibe_pwm, on ? vibe_pwm.period : 0);
}

static void buzzer_off_handler(struct k_work *work)
{
	ARG_UNUSED(work);
	buzzer_set(0);
}

static void vibe_off_handler(struct k_work *work)
{
	ARG_UNUSED(work);
	vibe_set(false);
}

static void alarm_pulse_handler(struct k_work *work)
{
	ARG_UNUSED(work);

	if (!alarm_active) {
		return;
	}

	if (k_uptime_get() - alarm_started_ms > ALARM_TIMEOUT_MS) {
		haptics_stop();
		return;
	}

	alarm_pulse_on = !alarm_pulse_on;
	if (alarm_beep) {
		buzzer_set(alarm_pulse_on ? 2700 : 0); /* ~2.7kHz: stock A158-ish alarm pitch */
	}
	if (alarm_vibrate) {
		vibe_set(alarm_pulse_on);
	}

	k_work_schedule(&alarm_pulse_work,
			K_MSEC(alarm_pulse_on ? ALARM_PULSE_ON_MS : ALARM_PULSE_OFF_MS));
}

int haptics_init(void)
{
	if (!pwm_is_ready_dt(&buzzer_pwm) || !pwm_is_ready_dt(&vibe_pwm)) {
		LOG_ERR("Haptics PWM not ready");
		return -ENODEV;
	}

	k_work_init_delayable(&buzzer_off_work, buzzer_off_handler);
	k_work_init_delayable(&vibe_off_work, vibe_off_handler);
	k_work_init_delayable(&alarm_pulse_work, alarm_pulse_handler);
	return 0;
}

int haptics_beep(uint32_t freq_hz, uint32_t duration_ms)
{
	int err = buzzer_set(freq_hz);
	if (err) {
		return err;
	}
	return k_work_schedule(&buzzer_off_work, K_MSEC(duration_ms));
}

int haptics_vibrate(uint32_t duration_ms)
{
	int err = vibe_set(true);
	if (err) {
		return err;
	}
	return k_work_schedule(&vibe_off_work, K_MSEC(duration_ms));
}

int haptics_alarm(bool vibrate, bool beep)
{
	if (!vibrate && !beep) {
		return -EINVAL;
	}

	alarm_active = true;
	alarm_vibrate = vibrate;
	alarm_beep = beep;
	alarm_pulse_on = false;
	alarm_started_ms = k_uptime_get();

	return k_work_schedule(&alarm_pulse_work, K_NO_WAIT);
}

int haptics_stop(void)
{
	alarm_active = false;
	k_work_cancel_delayable(&alarm_pulse_work);
	buzzer_set(0);
	vibe_set(false);
	return 0;
}
```

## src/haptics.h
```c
#ifndef HAPTICS_H_
#define HAPTICS_H_

#include <stdbool.h>
#include <stdint.h>

int haptics_init(void);

/* Fire-and-forget short feedback (button acknowledgment, etc). */
int haptics_beep(uint32_t freq_hz, uint32_t duration_ms);
int haptics_vibrate(uint32_t duration_ms);

/* Starts the repeating alarm pattern per the spec's vibrate/beep modes
 * (WatchStatusFlags.alarmVibrate / alarmBeep on the phone side); at least
 * one of vibrate/beep should be true. Runs until haptics_stop() — e.g. on
 * any button press acknowledging the alarm — or an internal timeout.
 */
int haptics_alarm(bool vibrate, bool beep);
int haptics_stop(void);

#endif /* HAPTICS_H_ */
```

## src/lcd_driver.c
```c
/*
 * SPI driver for the external PCF8551 segment LCD driver IC (see
 * hardware/FEASIBILITY.md's addendum on why nRF52832 needs one). This is
 * the single highest-risk file in this firmware, for two independent
 * reasons — read both before trusting anything here:
 *
 * 1. PCF8551's exact command protocol (mode-set opcode, display-RAM write
 *    addressing) came from its product brief, not the full instruction-set
 *    timing diagrams in the datasheet (which this environment couldn't
 *    fetch — see hardware/FEASIBILITY.md's note on restricted web access).
 *    `pcf8551_send_command` / `pcf8551_write_display_ram` below follow the
 *    common shape for this class of segment driver (mode-set byte, then a
 *    display-RAM write command followed by sequential data bytes) but the
 *    exact opcodes are placeholders — cross-check against NXP's full
 *    PCF8551 datasheet before flashing real hardware.
 *
 * 2. The mapping from "hour tens digit" etc. to a specific segment/backplane
 *    bit position is fundamentally unknowable without the real A158WE LCD
 *    glass in hand (see PINMAP punch list item "LCD segment/backplane
 *    count"). The SEG_OFFSET_* constants below are named placeholders,
 *    not measurements — every one of them needs to be filled in from a
 *    continuity test against the physical display before this drives
 *    anything meaningful.
 *
 * The seven-segment encoding table itself (which segments a-g light up for
 * each digit 0-9) *is* a fixed, sourceable fact independent of the specific
 * watch, so that part is real.
 */
#include <string.h>
#include <zephyr/devicetree.h>
#include <zephyr/drivers/spi.h>
#include <zephyr/logging/log.h>
#include <zephyr/sys/util.h>

#include "lcd_driver.h"

LOG_MODULE_REGISTER(lcd_driver, LOG_LEVEL_INF);

#define PCF8551_RAM_BYTES 18 /* 36 segments x 4 backplanes / 8 bits, per product brief */

/* --- TODO: real segment/backplane offsets, from a continuity test --- */
#define SEG_OFFSET_HOUR_TENS   0
#define SEG_OFFSET_HOUR_UNITS  1
#define SEG_OFFSET_MINUTE_TENS 2
#define SEG_OFFSET_MINUTE_UNITS 3
#define SEG_BIT_COLON          BIT(0) /* placeholder bit position, byte TBD */
#define SEG_OFFSET_TEMP_LOW_TENS  6
#define SEG_OFFSET_TEMP_LOW_UNITS 7
#define SEG_OFFSET_TEMP_HIGH_TENS  8
#define SEG_OFFSET_TEMP_HIGH_UNITS 9
#define SEG_BIT_ALARM_ICON      BIT(1) /* placeholder */
#define SEG_OFFSET_ALARM_ICON   10
#define SEG_BIT_LOW_BATTERY_ICON BIT(2) /* placeholder */
#define SEG_OFFSET_LOW_BATTERY  10

/* Standard 7-segment a-g bit encoding (bit0=a … bit6=g), digits 0-9. This
 * part is a real, sourceable fact — not a placeholder like the offsets
 * above.
 */
static const uint8_t SEVEN_SEG_DIGITS[10] = {
	0x3F, /* 0 */
	0x06, /* 1 */
	0x5B, /* 2 */
	0x4F, /* 3 */
	0x66, /* 4 */
	0x6D, /* 5 */
	0x7D, /* 6 */
	0x07, /* 7 */
	0x7F, /* 8 */
	0x6F, /* 9 */
};

static const struct spi_dt_spec lcd_spi = SPI_DT_SPEC_GET(
	DT_ALIAS(lcd_driver), SPI_WORD_SET(8) | SPI_TRANSFER_MSB, 0);

static uint8_t segment_ram[PCF8551_RAM_BYTES];

static int pcf8551_send(const uint8_t *data, size_t len)
{
	struct spi_buf buf = {.buf = (void *)data, .len = len};
	struct spi_buf_set tx = {.buffers = &buf, .count = 1};
	return spi_write_dt(&lcd_spi, &tx);
}

static int pcf8551_send_command(uint8_t cmd)
{
	/* Placeholder single-byte command frame — see file header. */
	return pcf8551_send(&cmd, 1);
}

static int pcf8551_write_display_ram(void)
{
	/* Placeholder: 0x40 = "write display RAM starting at address 0" in
	 * this class of driver IC, followed by the full RAM image.
	 */
	uint8_t frame[1 + PCF8551_RAM_BYTES];
	frame[0] = 0x40;
	memcpy(&frame[1], segment_ram, PCF8551_RAM_BYTES);
	return pcf8551_send(frame, sizeof(frame));
}

static void set_digit(uint8_t offset, uint8_t value)
{
	if (offset >= PCF8551_RAM_BYTES || value > 9) {
		return;
	}
	segment_ram[offset] = SEVEN_SEG_DIGITS[value];
}

int lcd_driver_init(void)
{
	if (!spi_is_ready_dt(&lcd_spi)) {
		LOG_ERR("LCD driver SPI bus not ready");
		return -ENODEV;
	}

	memset(segment_ram, 0, sizeof(segment_ram));

	/* Placeholder: 0x00 = "mode set: static/normal operation, display on"
	 * in this class of driver IC.
	 */
	int err = pcf8551_send_command(0x00);
	if (err) {
		return err;
	}

	return lcd_driver_flush();
}

int lcd_driver_set_time(uint8_t hour24, uint8_t minute, bool colon_on)
{
	set_digit(SEG_OFFSET_HOUR_TENS, hour24 / 10);
	set_digit(SEG_OFFSET_HOUR_UNITS, hour24 % 10);
	set_digit(SEG_OFFSET_MINUTE_TENS, minute / 10);
	set_digit(SEG_OFFSET_MINUTE_UNITS, minute % 10);

	if (colon_on) {
		segment_ram[SEG_OFFSET_MINUTE_TENS] |= SEG_BIT_COLON;
	} else {
		segment_ram[SEG_OFFSET_MINUTE_TENS] &= ~SEG_BIT_COLON;
	}
	return 0;
}

int lcd_driver_set_temperature(int8_t low_fahrenheit, int8_t high_fahrenheit)
{
	uint8_t low_abs = (uint8_t)(low_fahrenheit < 0 ? -low_fahrenheit : low_fahrenheit);
	uint8_t high_abs = (uint8_t)(high_fahrenheit < 0 ? -high_fahrenheit : high_fahrenheit);

	set_digit(SEG_OFFSET_TEMP_LOW_TENS, (low_abs / 10) % 10);
	set_digit(SEG_OFFSET_TEMP_LOW_UNITS, low_abs % 10);
	set_digit(SEG_OFFSET_TEMP_HIGH_TENS, (high_abs / 10) % 10);
	set_digit(SEG_OFFSET_TEMP_HIGH_UNITS, high_abs % 10);
	/* Negative-temperature minus sign glyph is another unmapped segment —
	 * see file header; not wired up until the real segment map exists.
	 */
	return 0;
}

int lcd_driver_set_alarm_icon(bool on)
{
	if (on) {
		segment_ram[SEG_OFFSET_ALARM_ICON] |= SEG_BIT_ALARM_ICON;
	} else {
		segment_ram[SEG_OFFSET_ALARM_ICON] &= ~SEG_BIT_ALARM_ICON;
	}
	return 0;
}

int lcd_driver_set_low_battery_icon(bool on)
{
	if (on) {
		segment_ram[SEG_OFFSET_LOW_BATTERY] |= SEG_BIT_LOW_BATTERY_ICON;
	} else {
		segment_ram[SEG_OFFSET_LOW_BATTERY] &= ~SEG_BIT_LOW_BATTERY_ICON;
	}
	return 0;
}

int lcd_driver_flush(void)
{
	return pcf8551_write_display_ram();
}
```

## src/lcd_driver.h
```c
#ifndef LCD_DRIVER_H_
#define LCD_DRIVER_H_

#include <stdbool.h>
#include <stdint.h>

int lcd_driver_init(void);

/* All setters just update the in-memory segment buffer; call
 * lcd_driver_flush() to actually push it to the PCF8551 over SPI. Batch a
 * frame's worth of changes and flush once, rather than flushing per field.
 */
int lcd_driver_set_time(uint8_t hour24, uint8_t minute, bool colon_on);
int lcd_driver_set_temperature(int8_t low_fahrenheit, int8_t high_fahrenheit);
int lcd_driver_set_alarm_icon(bool on);
int lcd_driver_set_low_battery_icon(bool on);
int lcd_driver_flush(void);

#endif /* LCD_DRIVER_H_ */
```

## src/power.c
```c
/*
 * Time/temperature state + the once-a-minute LCD/status tick. No hardware
 * RTC peripheral needed: time is tracked as a phone-supplied Unix-seconds
 * anchor plus Zephyr's monotonic k_uptime_get(), which itself already runs
 * on the SoC's low-power RTC1 peripheral under the hood — so this stays
 * accurate across sleep without any extra driver code here.
 */
#include <time.h>
#include <zephyr/kernel.h>
#include <zephyr/logging/log.h>

#include "ble_service.h"
#include "haptics.h"
#include "lcd_driver.h"
#include "power.h"

LOG_MODULE_REGISTER(power, LOG_LEVEL_INF);

static int64_t sync_unix_seconds;
static int64_t sync_uptime_ms;
static int8_t utc_offset_quarter_hours;
static bool have_time_sync;

static int8_t cached_low_f;
static int8_t cached_high_f;

static struct k_work_delayable minute_tick_work;

/* No fuel gauge on a coin cell in rev1 — reporting a fixed 100% until a
 * real VDD-based estimate (nRF52832's SAADC against the CR2016 discharge
 * curve) is calibrated against actual hardware. Flagged in the punch list.
 */
static uint8_t estimate_battery_percent(void)
{
	return 100;
}

static void minute_tick_handler(struct k_work *work)
{
	ARG_UNUSED(work);

	if (have_time_sync) {
		int64_t now_unix = sync_unix_seconds +
				    (k_uptime_get() - sync_uptime_ms) / 1000;
		now_unix += (int64_t)utc_offset_quarter_hours * 15 * 60;

		time_t now_time = (time_t)now_unix;
		struct tm tm_now;
		gmtime_r(&now_time, &tm_now);

		lcd_driver_set_time((uint8_t)tm_now.tm_hour, (uint8_t)tm_now.tm_min, true);
		lcd_driver_set_temperature(cached_low_f, cached_high_f);
		lcd_driver_flush();
	}

	struct watch_status_payload status = {
		.battery_percent = estimate_battery_percent(),
		.flags = 0,
		.firmware_version = 1,
	};
	if (status.battery_percent < 15) {
		status.flags |= WATCH_STATUS_FLAG_LOW_BATTERY;
		lcd_driver_set_low_battery_icon(true);
	}
	ble_service_notify_status(&status);

	k_work_schedule(&minute_tick_work, K_SECONDS(60));
}

int power_init(void)
{
	k_work_init_delayable(&minute_tick_work, minute_tick_handler);
	return k_work_schedule(&minute_tick_work, K_NO_WAIT);
}

void power_apply_time_sync(const struct watch_time_sync_payload *sync)
{
	sync_unix_seconds = sync->unix_seconds;
	sync_uptime_ms = k_uptime_get();
	utc_offset_quarter_hours = sync->utc_offset_quarter_hours;
	have_time_sync = true;

	/* Refresh immediately rather than waiting up to 60s for the next tick. */
	k_work_reschedule(&minute_tick_work, K_NO_WAIT);
}

void power_apply_temperature(const struct watch_temperature_payload *temp)
{
	cached_low_f = temp->low_fahrenheit;
	cached_high_f = temp->high_fahrenheit;
}
```

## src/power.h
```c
#ifndef POWER_H_
#define POWER_H_

#include "watch_protocol.h"

/* Starts the once-a-minute clock tick that keeps the LCD's time/temp
 * digits current and reports status back to the phone. Actual low-power
 * idling between events is Zephyr's PM subsystem (CONFIG_PM /
 * CONFIG_PM_DEVICE in prj.conf) doing its job automatically whenever no
 * thread is runnable — there's no separate "go to sleep" call needed as
 * long as the rest of the firmware stays interrupt/event-driven (GPIO
 * interrupts, BLE callbacks, PDM DMA) instead of polling, which is how
 * buttons.c/audio_capture.c/ble_service.c are all written.
 */
int power_init(void);

void power_apply_time_sync(const struct watch_time_sync_payload *sync);
void power_apply_temperature(const struct watch_temperature_payload *temp);

#endif /* POWER_H_ */
```
